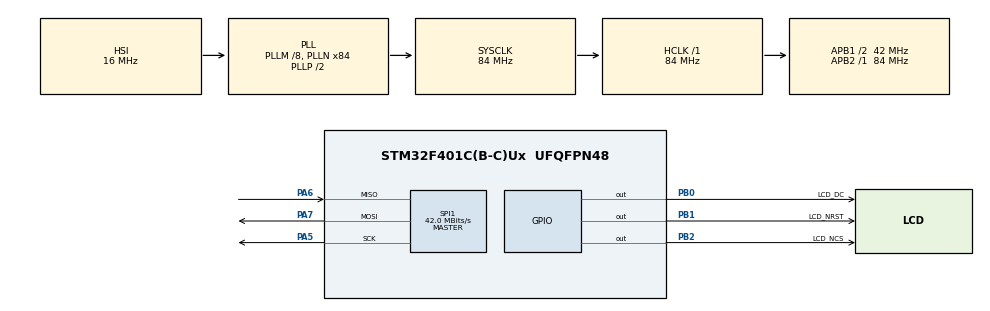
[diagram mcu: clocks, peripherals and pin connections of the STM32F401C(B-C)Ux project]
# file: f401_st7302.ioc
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Mcu.Family=STM32F4
Mcu.Name=STM32F401C(B-C)Ux
Mcu.Package=UFQFPN48
NVIC.PriorityGroup=NVIC_PRIORITYGROUP_4
PA13.Mode=Serial_Wire
PA13.Signal=SYS_JTMS-SWDIO
PA14.Mode=Serial_Wire
PA14.Signal=SYS_JTCK-SWCLK
PA5.Mode=Full_Duplex_Master
PA5.Signal=SPI1_SCK
PA6.Mode=Full_Duplex_Master
PA6.Signal=SPI1_MISO
PA7.Mode=Full_Duplex_Master
PA7.Signal=SPI1_MOSI
PB0.GPIO_Label=LCD_DC
PB0.Signal=GPIO_Output
PB1.GPIO_Label=LCD_NRST
PB1.Signal=GPIO_Output
PB2.GPIO_Label=LCD_NCS
PB2.Signal=GPIO_Output
PC14-OSC32_IN.Mode=LSE-External-Oscillator
PC14-OSC32_IN.Signal=RCC_OSC32_IN
PC15-OSC32_OUT.Mode=LSE-External-Oscillator
PC15-OSC32_OUT.Signal=RCC_OSC32_OUT
PH0\ -\ OSC_IN.Mode=HSE-External-Oscillator
PH0\ -\ OSC_IN.Signal=RCC_OSC_IN
PH1\ -\ OSC_OUT.Mode=HSE-External-Oscillator
PH1\ -\ OSC_OUT.Signal=RCC_OSC_OUT
ProjectManager.HeapSize=0x200
ProjectManager.StackSize=0x400
ProjectManager.TargetToolchain=EWARM V8.50
RCC.48MHZClocksFreq_Value=42000000
RCC.AHBFreq_Value=84000000
RCC.APB1CLKDivider=RCC_HCLK_DIV2
RCC.APB1Freq_Value=42000000
RCC.APB1TimFreq_Value=84000000
RCC.APB2Freq_Value=84000000
RCC.APB2TimFreq_Value=84000000
RCC.CortexFreq_Value=84000000
RCC.HCLKFreq_Value=84000000
RCC.HSE_VALUE=25000000
RCC.HSI_VALUE=16000000
RCC.PLLM=25
RCC.PLLN=168
RCC.PLLSourceVirtual=RCC_PLLSOURCE_HSE
RCC.RCC_RTC_Clock_Source=RCC_RTCCLKSOURCE_LSE
RCC.SYSCLKFreq_VALUE=84000000
RCC.SYSCLKSource=RCC_SYSCLKSOURCE_PLLCLK
RCC.VCOOutputFreq_Value=168000000
SPI1.BaudRatePrescaler=SPI_BAUDRATEPRESCALER_2
SPI1.CalculateBaudRate=42.0 MBits/s
SPI1.Direction=SPI_DIRECTION_2LINES
SPI1.Mode=SPI_MODE_MASTER
SPI1.VirtualType=VM_MASTER
VP_RTC_VS_RTC_Activate.Mode=RTC_Enabled
VP_RTC_VS_RTC_Calendar.Mode=RTC_Calendar
board=custom

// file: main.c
/* USER CODE BEGIN Header */
/**
  ******************************************************************************
  * @file           : main.c
  * @brief          : Main program body
  ******************************************************************************
  * @attention
  *
  * Copyright (c) 2025 STMicroelectronics.
  * All rights reserved.
  *
  * This software is licensed under terms that can be found in the LICENSE file
  * in the root directory of this software component.
  * If no LICENSE file comes with this software, it is provided AS-IS.
  *
  ******************************************************************************
  */
/* USER CODE END Header */
#include "main.h"

/* USER CODE BEGIN Includes */
#include "math.h"
#include "lcd.h"
/* USER CODE END Includes */

/* USER CODE BEGIN PD */
uint8_t lcd_buffer[3813];
uint8_t cur_x;
uint8_t cur_y;
RTC_TimeTypeDef sTime = {0};
RTC_DateTypeDef sDate = {0};
/* USER CODE END PD */

 RTC_HandleTypeDef hrtc;

SPI_HandleTypeDef hspi1;

void SystemClock_Config(void);
static void MX_GPIO_Init(void);
static void MX_RTC_Init(void);
static void MX_SPI1_Init(void);

int main(void)
{

  /* MCU Configuration--------------------------------------------------------*/

  /* Reset of all peripherals, Initializes the Flash interface and the Systick. */
  HAL_Init();

  /* Configure the system clock */
  SystemClock_Config();

  /* Initialize all configured peripherals */
  MX_GPIO_Init();
  MX_RTC_Init();
  MX_SPI1_Init();
  /* USER CODE BEGIN 2 */
  lcd_init();
  //convert_font();
  /* USER CODE END 2 */

  /* Infinite loop */
  /* USER CODE BEGIN WHILE */
  while (1){
    //send_command(0x2C);   //RAM Write
    cur_x=0;
    cur_y=0;
    lcd_put_string("Hello, world! � ���������� ��- ������ � �������� + �������!", 0);
    cur_x=0;
    cur_y=4;
    HAL_RTC_GetTime(&hrtc, &sTime, RTC_FORMAT_BCD);
    HAL_RTC_GetDate(&hrtc, &sDate, RTC_FORMAT_BCD);
    //sprintf((char *)str_tmp, "%02X:%02X:%02X",
    lcd_put_char ('0'+(sTime.Hours>>4), 1);
    lcd_put_char ('0'+(sTime.Hours&0x0F), 1);
    lcd_put_char (':', 1);
    lcd_put_char ('0'+(sTime.Minutes>>4), 1);
    lcd_put_char ('0'+(sTime.Minutes&0x0F), 1);
    lcd_put_char (':', 1);
    lcd_put_char ('0'+(sTime.Seconds>>4), 1);
    lcd_put_char ('0'+(sTime.Seconds&0x0F), 1);
    //lcd_put_string(str_tmp, 1);
    lcd_draw_line(80, 80, 80, 120);
    lcd_draw_line(80, 80, 120, 120);
    lcd_draw_circle(125, 50, 40);
    lcd_update();
    HAL_Delay(1000);
    lcd_clear();
    /* USER CODE END WHILE */

  }
}

void SystemClock_Config(void)
{
  RCC_OscInitTypeDef RCC_OscInitStruct = {0};
  RCC_ClkInitTypeDef RCC_ClkInitStruct = {0};

  /** Configure the main internal regulator output voltage
  */
  __HAL_RCC_PWR_CLK_ENABLE();
  __HAL_PWR_VOLTAGESCALING_CONFIG(PWR_REGULATOR_VOLTAGE_SCALE2);

  /** Initializes the RCC Oscillators according to the specified parameters
  * in the RCC_OscInitTypeDef structure.
  */
  RCC_OscInitStruct.OscillatorType = RCC_OSCILLATORTYPE_HSI|RCC_OSCILLATORTYPE_LSE;
  RCC_OscInitStruct.LSEState = RCC_LSE_ON;
  RCC_OscInitStruct.HSIState = RCC_HSI_ON;
  RCC_OscInitStruct.HSICalibrationValue = RCC_HSICALIBRATION_DEFAULT;
  RCC_OscInitStruct.PLL.PLLState = RCC_PLL_ON;
  RCC_OscInitStruct.PLL.PLLSource = RCC_PLLSOURCE_HSI;
  RCC_OscInitStruct.PLL.PLLM = 8;
  RCC_OscInitStruct.PLL.PLLN = 84;
  RCC_OscInitStruct.PLL.PLLP = RCC_PLLP_DIV2;
  RCC_OscInitStruct.PLL.PLLQ = 4;
  if (HAL_RCC_OscConfig(&RCC_OscInitStruct) != HAL_OK)
  {
    Error_Handler();
  }

  /** Initializes the CPU, AHB and APB buses clocks
  */
  RCC_ClkInitStruct.ClockType = RCC_CLOCKTYPE_HCLK|RCC_CLOCKTYPE_SYSCLK
                              |RCC_CLOCKTYPE_PCLK1|RCC_CLOCKTYPE_PCLK2;
  RCC_ClkInitStruct.SYSCLKSource = RCC_SYSCLKSOURCE_PLLCLK;
  RCC_ClkInitStruct.AHBCLKDivider = RCC_SYSCLK_DIV1;
  RCC_ClkInitStruct.APB1CLKDivider = RCC_HCLK_DIV2;
  RCC_ClkInitStruct.APB2CLKDivider = RCC_HCLK_DIV1;

  if (HAL_RCC_ClockConfig(&RCC_ClkInitStruct, FLASH_LATENCY_2) != HAL_OK)
  {
    Error_Handler();
  }
}

static void MX_RTC_Init(void)
{

  /** Initialize RTC Only
  */
  hrtc.Instance = RTC;
  hrtc.Init.HourFormat = RTC_HOURFORMAT_24;
  hrtc.Init.AsynchPrediv = 127;
  hrtc.Init.SynchPrediv = 255;
  hrtc.Init.OutPut = RTC_OUTPUT_DISABLE;
  hrtc.Init.OutPutPolarity = RTC_OUTPUT_POLARITY_HIGH;
  hrtc.Init.OutPutType = RTC_OUTPUT_TYPE_OPENDRAIN;
  if (HAL_RTC_Init(&hrtc) != HAL_OK)
  {
    Error_Handler();
  }

  /* USER CODE BEGIN Check_RTC_BKUP */
  return;
  /* USER CODE END Check_RTC_BKUP */

  /** Initialize RTC and set the Time and Date
  */
  sTime.Hours = 0x0;
  sTime.Minutes = 0x0;
  sTime.Seconds = 0x0;
  sTime.DayLightSaving = RTC_DAYLIGHTSAVING_NONE;
  sTime.StoreOperation = RTC_STOREOPERATION_RESET;
  if (HAL_RTC_SetTime(&hrtc, &sTime, RTC_FORMAT_BCD) != HAL_OK)
  {
    Error_Handler();
  }
  sDate.WeekDay = RTC_WEEKDAY_MONDAY;
  sDate.Month = RTC_MONTH_JANUARY;
  sDate.Date = 0x1;
  sDate.Year = 0x0;

  if (HAL_RTC_SetDate(&hrtc, &sDate, RTC_FORMAT_BCD) != HAL_OK)
  {
    Error_Handler();
  }

}

static void MX_SPI1_Init(void)
{

  /* SPI1 parameter configuration*/
  hspi1.Instance = SPI1;
  hspi1.Init.Mode = SPI_MODE_MASTER;
  hspi1.Init.Direction = SPI_DIRECTION_2LINES;
  hspi1.Init.DataSize = SPI_DATASIZE_8BIT;
  hspi1.Init.CLKPolarity = SPI_POLARITY_LOW;
  hspi1.Init.CLKPhase = SPI_PHASE_1EDGE;
  hspi1.Init.NSS = SPI_NSS_SOFT;
  hspi1.Init.BaudRatePrescaler = SPI_BAUDRATEPRESCALER_256;
  hspi1.Init.FirstBit = SPI_FIRSTBIT_MSB;
  hspi1.Init.TIMode = SPI_TIMODE_DISABLE;
  hspi1.Init.CRCCalculation = SPI_CRCCALCULATION_DISABLE;
  hspi1.Init.CRCPolynomial = 10;
  if (HAL_SPI_Init(&hspi1) != HAL_OK)
  {
    Error_Handler();
  }

}

static void MX_GPIO_Init(void)
{
  GPIO_InitTypeDef GPIO_InitStruct = {0};

  /* GPIO Ports Clock Enable */
  __HAL_RCC_GPIOC_CLK_ENABLE();
  __HAL_RCC_GPIOH_CLK_ENABLE();
  __HAL_RCC_GPIOA_CLK_ENABLE();
  __HAL_RCC_GPIOB_CLK_ENABLE();

  /*Configure GPIO pin Output Level */
  HAL_GPIO_WritePin(GPIOB, GPIO_PIN_0|GPIO_PIN_1|GPIO_PIN_2, GPIO_PIN_SET);

  /*Configure GPIO pins : PB0 PB1 PB2 */
  GPIO_InitStruct.Pin = GPIO_PIN_0|GPIO_PIN_1|GPIO_PIN_2;
  GPIO_InitStruct.Mode = GPIO_MODE_OUTPUT_PP;
  GPIO_InitStruct.Pull = GPIO_NOPULL;
  GPIO_InitStruct.Speed = GPIO_SPEED_FREQ_LOW;
  HAL_GPIO_Init(GPIOB, &GPIO_InitStruct);

}

void Error_Handler(void)
{
  __disable_irq();
  while (1)
  {
  }
}
